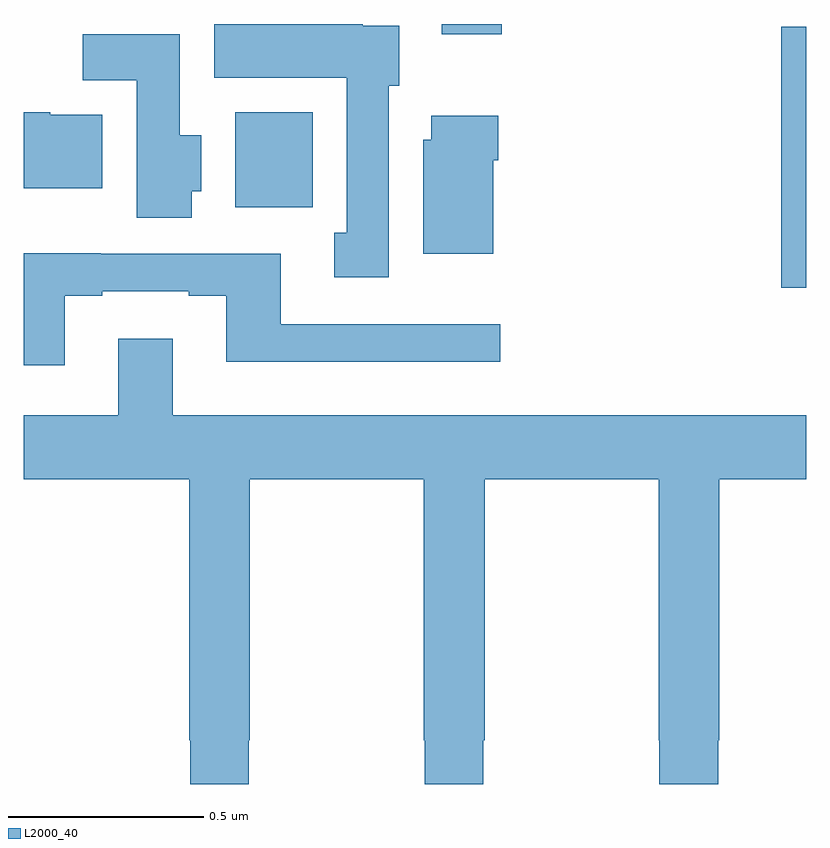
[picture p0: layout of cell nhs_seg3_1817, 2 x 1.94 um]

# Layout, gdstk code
import gdstk
lib = gdstk.Library(unit=1e-6, precision=1e-09)
def R(c, l, rs):  # rectangles x0, y0, x1, y1
    for r in rs: c.add(gdstk.rectangle(r[:2], r[2:], *l))
def P(c, l, *ps):  # polygons
    for p in ps: c.add(gdstk.Polygon(p, *l))
L2000_40 = (2000, 40)

nhs_seg3_1817 = lib.new_cell('nhs_seg3_1817')
R(nhs_seg3_1817, L2000_40, [(134.936,714.726,135,715.393), (133.541,714.932,133.738,715.174), (134.069,715.374,134.222,715.4)])
P(nhs_seg3_1817, L2000_40, [(133.933,715.242),(133.96,715.242),(133.96,715.396),(133.867,715.396),(133.867,715.4),(133.487,715.4),(133.487,715.262),(133.826,715.262),(133.826,714.866),(133.793,714.866),(133.793,714.753),(133.933,714.753)],
  [(133.429,714.972),(133.453,714.972),(133.453,715.116),(133.399,715.116),(133.399,715.374),(133.15,715.374),(133.15,715.256),(133.289,715.256),(133.289,714.905),(133.429,714.905)],
  [(133.201,715.168),(133.068,715.168),(133.068,715.174),(133,715.174),(133,714.98),(133.201,714.98)],
  [(134.2,715.052),(134.213,715.052),(134.213,715.165),(134.042,715.165),(134.042,715.104),(134.021,715.104),(134.021,714.812),(134.2,714.812)],
  [(133.105,714.705),(133.201,714.705),(133.201,714.717),(133.421,714.717),(133.421,714.705),(133.517,714.705),(133.517,714.536),(134.218,714.536),(134.218,714.633),(133.657,714.633),(133.657,714.813),(133.197,714.813),(133.197,714.814),(133,714.814),(133,714.528),(133.105,714.528)],
  [(133.381,714.595),(133.241,714.595),(133.241,714.4),(133,714.4),(133,714.236),(133.423,714.236),(133.423,713.569),(133.425,713.569),(133.425,713.457),(133.575,713.457),(133.575,713.569),(133.578,713.569),(133.578,714.236),(134.023,714.236),(134.023,713.569),(134.025,713.569),(134.025,713.457),(134.175,713.457),(134.175,713.569),(134.178,713.569),(134.178,714.236),(134.623,714.236),(134.623,713.569),(134.625,713.569),(134.625,713.457),(134.775,713.457),(134.775,713.569),(134.778,713.569),(134.778,714.236),(135,714.236),(135,714.4),(133.381,714.4)])

lib.write_gds('nhs_seg3_1817.gds')
